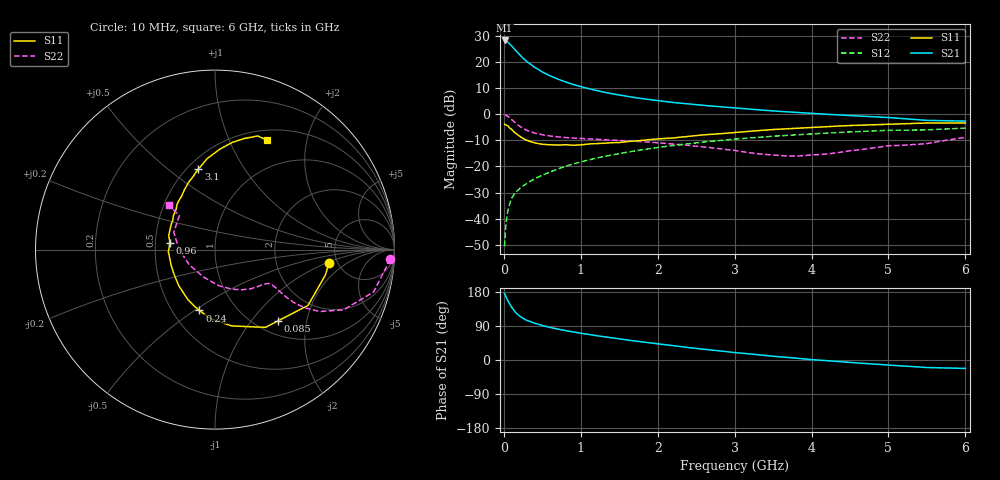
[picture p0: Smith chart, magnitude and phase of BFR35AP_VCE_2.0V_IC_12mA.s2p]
! Infineon Technologies  Discrete & RF Semiconductors
! BFR35AP
! VCE =  2.0 V,  IC =  12 mA
! Common Emitter S-Parameters:  Nov 2015
# GHz  S  MA  R  50
!  f  S11  S21  S12  S22
! GHz  MAG  ANG  MAG  ANG  MAG  ANG  MAG  ANG
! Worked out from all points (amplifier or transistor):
!   210 points, 10 MHz to 6 GHz, reference 50 ohm
!   highest |S21| = 28.1 dB at 10 MHz (marker M1)
!   |S21| within 3 dB of that: start of sweep to 128.7 MHz
!   unconditionally stable (mu >= 1): 477.8 MHz to 3.861 GHz
!   at 185 MHz: K = 0.63, MSG = 26.1 dB, |S12| = -29.0 dB
!   at 1.52 GHz: K = 1.12, MAG = 8.9 dB, |S12| = -15.0 dB
!   at 6 GHz: K = 0.98, MSG = 1.3 dB, |S12| = -5.3 dB
!   S11 on the Smith chart (normalised r, x): 10 MHz: 4.28, -1.05; 85 MHz: 1.25, -1.38; 240 MHz: 0.68, -0.52; 960 MHz: 0.59, +0.05; 3.1 GHz: 0.57, +0.64; 6 GHz: 0.62, +1.39
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0.01  0.6399 -6.5  25.54 175.2  0.003 86.2  0.9746 -3.0
0.02  0.6312 -12.9  25.4 170.1  0.0057 80.5  0.9571 -6.2
0.05  0.6042 -31.0  23.98 157.0  0.0137 77.4  0.9147 -14.9
0.085  0.5305 -48.4  21.15 145.0  0.0211 69.4  0.8256 -21.7
0.1  0.5165 -57.0  20.27 139.0  0.0244 67.5  0.7916 -25.1
0.15  0.4352 -77.7  16.67 125.4  0.0317 63.2  0.6764 -30.7
0.2  0.385 -93.9  13.86 116.6  0.0373 62.0  0.5938 -33.0
0.24  0.3501 -104.4  12.1 111.2  0.0415 61.3  0.5451 -33.7
0.26  0.3368 -109.5  11.35 108.7  0.0436 61.5  0.524 -33.9
0.3  0.3158 -118.9  10.07 104.4  0.0474 62.4  0.4883 -33.8
0.4  0.2844 -135.5  7.848 97.1  0.0582 63.2  0.4341 -33.0
0.5  0.2659 -149.3  6.359 90.9  0.0678 64.3  0.4017 -32.2
0.6  0.2596 -159.9  5.393 85.9  0.0786 65.0  0.3817 -31.8
0.7  0.2567 -168.9  4.674 81.5  0.0893 65.2  0.368 -31.9
0.96  0.2563 171.2  3.476 72.1  0.1177 64.5  0.3451 -33.2
1.02  0.2603 167.4  3.288 70.1  0.1242 64.2  0.3415 -33.9
1.4  0.2842 148.4  2.456 58.6  0.1653 61.5  0.3205 -39.2
2.02  0.3375 127.2  1.796 42.1  0.2321 54.9  0.2821 -51.6
3.1  0.4578 101.6  1.275 17.9  0.3416 41.0  0.1916 -88.6
4.1  0.5672 86.1  1.013 -0.3  0.427 27.5  0.1685 -156.2
5.1  0.6469 74.0  0.84 -14.7  0.491 13.6  0.2513 152.9
6  0.6751 64.6  0.736 -22.2  0.5415 3.6  0.359 136.1
